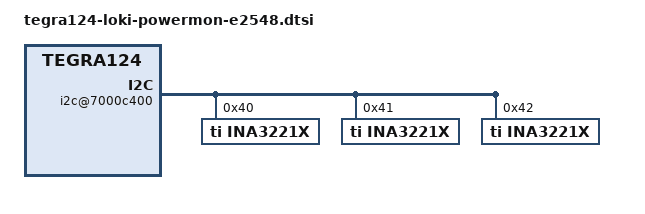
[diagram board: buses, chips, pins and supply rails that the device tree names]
/ {
	i2c@7000c400 {
		ina3221x@40 {
			compatible = "ti,ina3221x";
			reg = <0x40>;
			ti,trigger-config = <0x7003>;
			ti,continuous-config = <0x7607>;
			#address-cells = <1>;
			#size-cells = <0>;

			channel@0 {
				reg = <0x0>;
				ti,rail-name = "VDD_CPU";
				ti,shunt-resistor-mohm = <5>;
			};

			channel@1 {
				reg = <0x1>;
				ti,rail-name = "VDD_BAT";
				ti,shunt-resistor-mohm = <5>;
				ti,current-critical-limit-ma = <6800>;
			};

			channel@2 {
				reg = <0x2>;
				ti,rail-name = "VDD_VBUS";
				ti,shunt-resistor-mohm = <20>;
			};
		};

		ina3221x@41 {
			compatible = "ti,ina3221x";
			reg = <0x41>;
			ti,trigger-config = <0x7003>;
			ti,continuous-config = <0x7607>;
			#address-cells = <1>;
			#size-cells = <0>;

			channel@0 {
				reg = <0x0>;
				ti,rail-name = "VDD_DDR";
				ti,shunt-resistor-mohm = <30>;
			};

			channel@1 {
				reg = <0x1>;
				ti,rail-name = "VDD_SOC";
				ti,shunt-resistor-mohm = <30>;
			};

			channel@2 {
				reg = <0x2>;
				ti,rail-name = "VDD_GPU";
				ti,shunt-resistor-mohm = <10>;
			};
		};

		ina3221x@42 {
			compatible = "ti,ina3221x";
			reg = <0x42>;
			ti,trigger-config = <0x7003>;
			ti,continuous-config = <0x7607>;
			#address-cells = <1>;
			#size-cells = <0>;

			channel@0 {
				reg = <0x0>;
				ti,rail-name = "VDD_3V3_SYS";
				ti,shunt-resistor-mohm = <30>;
			};

			channel@1 {
				reg = <0x1>;
				ti,rail-name = "VDD_EMMC";
				ti,shunt-resistor-mohm = <30>;
			};

			channel@2 {
				reg = <0x2>;
				ti,rail-name = "VDD_MDM";
				ti,shunt-resistor-mohm = <20>;
			};
		};

	};
};
